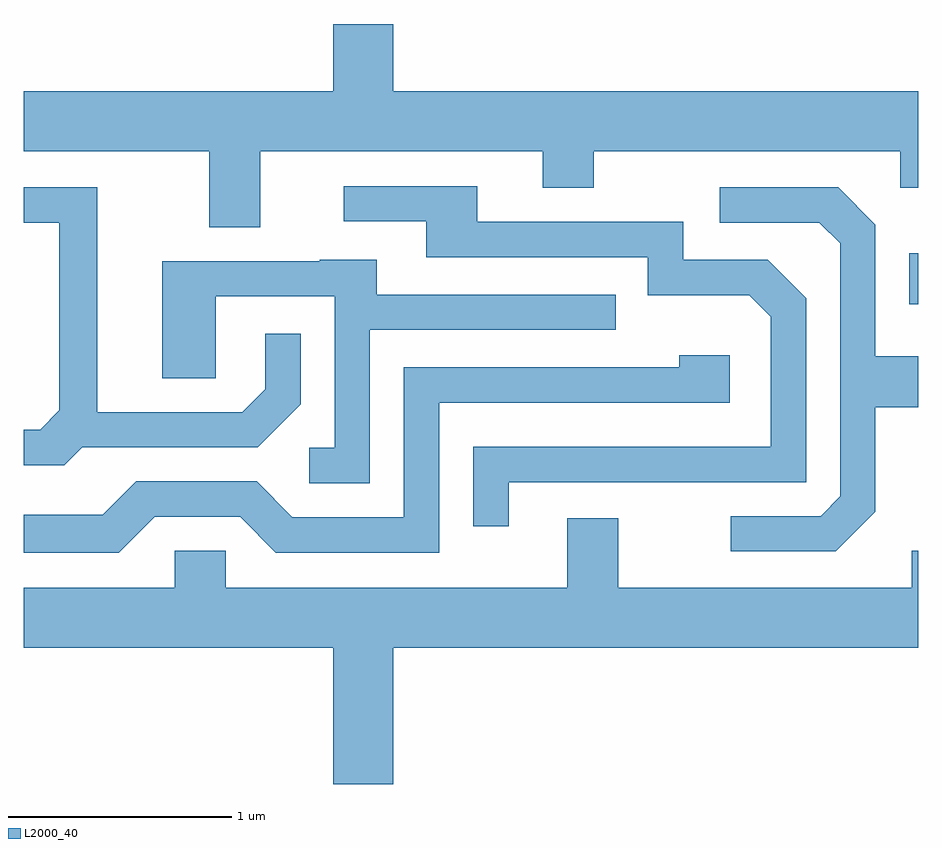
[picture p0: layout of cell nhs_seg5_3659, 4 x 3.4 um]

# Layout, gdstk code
import gdstk
lib = gdstk.Library(unit=1e-6, precision=1e-09)
def R(c, l, rs):  # rectangles x0, y0, x1, y1
    for r in rs: c.add(gdstk.rectangle(r[:2], r[2:], *l))
def P(c, l, *ps):  # polygons
    for p in ps: c.add(gdstk.Polygon(p, *l))
L2000_40 = (2000, 40)

nhs_seg5_3659 = lib.new_cell('nhs_seg5_3659')
R(nhs_seg5_3659, L2000_40, [(297.571,1462.771,297.611,1462.999)])
P(nhs_seg5_3659, L2000_40, [(294.669,1463.456),(295.931,1463.456),(295.931,1463.291),(296.159,1463.291),(296.159,1463.456),(297.531,1463.456),(297.531,1463.291),(297.611,1463.291),(297.611,1463.724),(295.264,1463.724),(295.264,1464.024),(294.996,1464.024),(294.996,1463.724),(293.611,1463.724),(293.611,1463.456),(294.441,1463.456),(294.441,1463.116),(294.669,1463.116)],
  [(295.779,1461.976),(297.109,1461.976),(297.109,1462.797),(296.937,1462.969),(296.559,1462.969),(296.559,1463.139),(295.639,1463.139),(295.639,1463.299),(295.043,1463.299),(295.043,1463.141),(295.411,1463.141),(295.411,1462.981),(296.401,1462.981),(296.401,1462.811),(296.854,1462.811),(296.951,1462.714),(296.951,1462.134),(295.621,1462.134),(295.621,1461.778),(295.779,1461.778)],
  [(293.872,1462.131),(294.657,1462.131),(294.849,1462.324),(294.849,1462.638),(294.691,1462.638),(294.691,1462.392),(294.589,1462.289),(293.939,1462.289),(293.939,1463.294),(293.611,1463.294),(293.611,1463.136),(293.771,1463.136),(293.771,1462.297),(293.684,1462.209),(293.611,1462.209),(293.611,1462.051),(293.792,1462.051)],
  [(297.419,1461.844),(297.419,1462.311),(297.611,1462.311),(297.611,1462.539),(297.419,1462.539),(297.419,1463.127),(297.252,1463.294),(296.723,1463.294),(296.723,1463.136),(297.169,1463.136),(297.261,1463.044),(297.261,1461.912),(297.174,1461.824),(296.773,1461.824),(296.773,1461.666),(297.242,1461.666)],
  [(295.159,1462.656),(296.258,1462.656),(296.258,1462.814),(295.189,1462.814),(295.189,1462.969),(294.935,1462.969),(294.935,1462.964),(294.231,1462.964),(294.231,1462.441),(294.469,1462.441),(294.469,1462.806),(295.001,1462.806),(295.001,1462.129),(294.888,1462.129),(294.888,1461.971),(295.159,1461.971)],
  [(294.197,1461.821),(294.579,1461.821),(294.739,1461.661),(295.469,1461.661),(295.469,1462.331),(296.769,1462.331),(296.769,1462.544),(296.541,1462.544),(296.541,1462.489),(295.311,1462.489),(295.311,1461.819),(294.812,1461.819),(294.652,1461.979),(294.114,1461.979),(293.964,1461.829),(293.611,1461.829),(293.611,1461.661),(294.037,1461.661)],
  [(295.264,1461.236),(297.611,1461.236),(297.611,1461.669),(297.581,1461.669),(297.581,1461.504),(296.269,1461.504),(296.269,1461.814),(296.041,1461.814),(296.041,1461.504),(294.514,1461.504),(294.514,1461.669),(294.286,1461.669),(294.286,1461.504),(293.611,1461.504),(293.611,1461.236),(294.996,1461.236),(294.996,1460.626),(295.264,1460.626)])

lib.write_gds('nhs_seg5_3659.gds')
